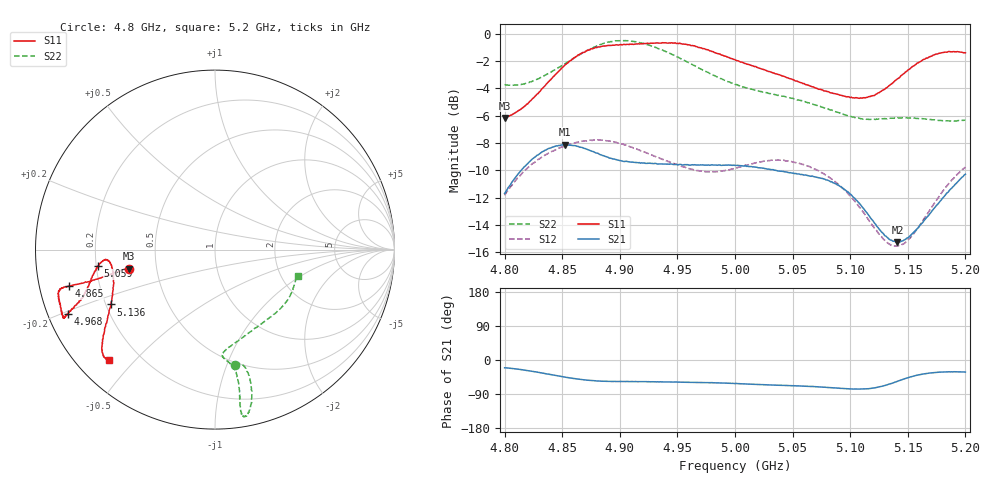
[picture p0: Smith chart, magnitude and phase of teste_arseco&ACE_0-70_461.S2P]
! Network Analyzer HP8722D
! Hewlett-Packard
! Data name: Linha & Wilkinson
! Saver's name: Rodrigo Anjos
! Comments: Teste da utilização de aquisição
! continua pelo VNA HP8722D
! Time and date: 8/5/2025 16:36
!  Frequency  S11  S21  S12  S22
# HZ  S  MA R 50
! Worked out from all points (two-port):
!   401 points, 4.8 GHz to 5.2 GHz, reference 50 ohm
!   highest |S21| = -8.11 dB at 4.852 GHz (marker M1); lowest = -15.3 dB at 5.141 GHz (marker M2)
!   |S21| within 3 dB of the highest: 4.805 GHz to 5.09 GHz (285.5 MHz wide, 5.77 % of centre); 5.190355 GHz to end of sweep
!   lowest |S11| = -6.2 dB at 4.8 GHz (marker M3), VSWR 2.94, Z = 17.2 - j4.84 ohm
!   |S11| at or under -10 dB: nowhere
!   |S22| runs from -6.4 to -0.5 dB; largest |S21 - S12| = 0.62
!   S11 on the Smith chart (normalised r, x): 4.8 GHz: 0.34, -0.10; 4.865 GHz: 0.09, -0.12; 4.968 GHz: 0.06, -0.21; 5.059 GHz: 0.21, -0.07; 5.136 GHz: 0.22, -0.24; 5.2 GHz: 0.09, -0.42
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4.8e9  0.4923 -167.5  0.2599 -20.5  0.2562 -141.6  0.6516 -80.2
4.826e9  0.5879 -166.8  0.3529 -31.0  0.3377 -145.7  0.6757 -75.8
4.852e9  0.7662 -165.8  0.3931 -44.9  0.3889 -150.3  0.7752 -75.1
4.865e9  0.8395 -166.1  0.3845 -50.9  0.4015 -152.6  0.8386 -75.8
4.867e9  0.8507 -165.9  0.3837 -51.9  0.4039 -152.8  0.8477 -76.0
4.88e9  0.8901 -165.6  0.3655 -55.4  0.4088 -154.8  0.903 -77.3
4.899e9  0.9089 -163.1  0.3439 -56.9  0.3978 -157.2  0.9436 -79.7
4.934e9  0.925 -156.6  0.3338 -57.7  0.3516 -155.8  0.8811 -80.9
4.968e9  0.8919 -156.5  0.331 -59.3  0.3157 -147.8  0.7516 -80.0
5e9  0.804 -159.2  0.3296 -62.2  0.3222 -137.5  0.6527 -81.6
5.036e9  0.7133 -166.0  0.3156 -66.5  0.3442 -135.0  0.5971 -85.9
5.059e9  0.6573 -171.9  0.3044 -68.9  0.3325 -136.8  0.5678 -84.6
5.067e9  0.6398 -173.4  0.3016 -69.8  0.3233 -137.5  0.5532 -82.5
5.084e9  0.6078 -174.7  0.2872 -73.2  0.2934 -139.0  0.5255 -76.0
5.101e9  0.5858 -171.5  0.2573 -76.3  0.252 -139.2  0.4977 -65.9
5.116e9  0.5887 -164.5  0.2165 -75.8  0.2082 -135.2  0.4857 -55.1
5.134e9  0.6469 -153.3  0.1765 -63.5  0.1694 -119.1  0.4901 -43.0
5.136e9  0.6559 -152.2  0.1754 -61.8  0.1676 -116.6  0.4906 -41.6
5.141e9  0.6843 -149.6  0.1726 -56.0  0.1668 -109.9  0.4927 -38.9
5.153e9  0.7524 -144.6  0.1838 -44.2  0.1808 -95.0  0.4918 -32.7
5.172e9  0.8351 -139.0  0.2271 -33.6  0.2357 -81.1  0.4842 -24.4
5.2e9  0.8516 -133.8  0.306 -31.9  0.3247 -77.5  0.483 -17.6
